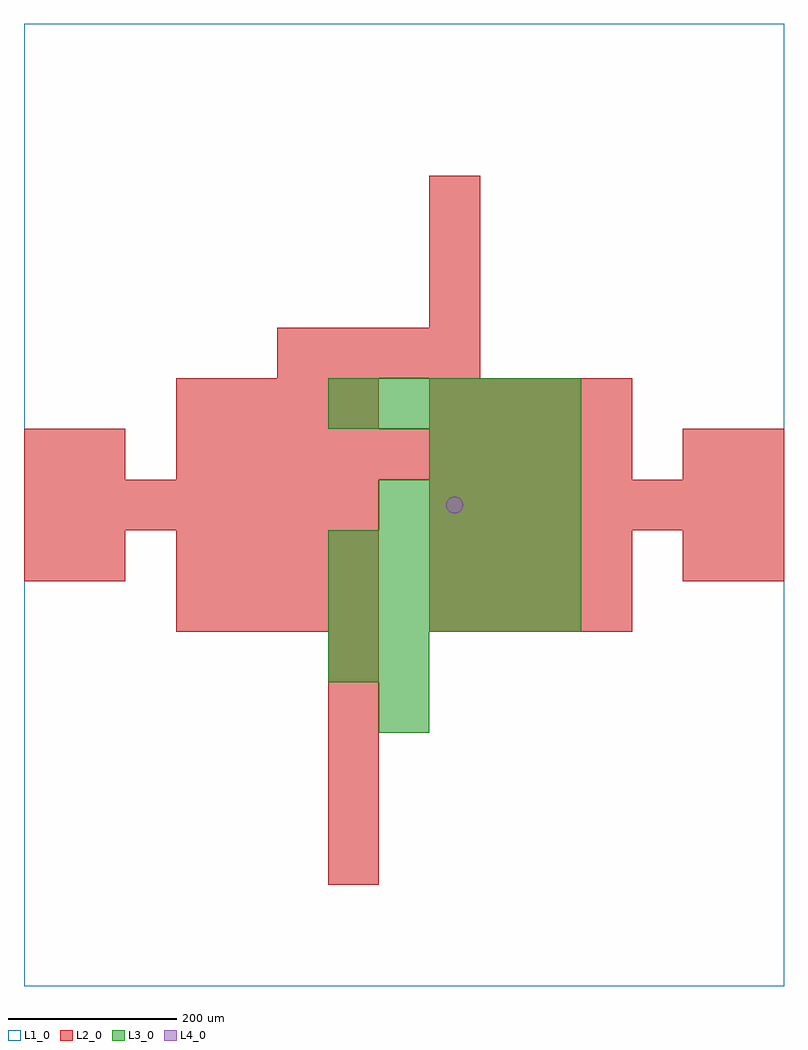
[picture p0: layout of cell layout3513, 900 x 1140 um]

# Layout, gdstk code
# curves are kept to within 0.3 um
import gdstk
lib = gdstk.Library(unit=1e-6, precision=1e-09)
def R(c, l, rs):  # rectangles x0, y0, x1, y1
    for r in rs: c.add(gdstk.rectangle(r[:2], r[2:], *l))
def A(c, l, x, y, w, h, nx, ny, dx, dy):  # array of equal rectangles
    R(c, l, [(x+i*dx, y+j*dy, x+i*dx+w, y+j*dy+h) for i in range(nx) for j in range(ny)])
def P(c, l, *ps):  # polygons
    for p in ps: c.add(gdstk.Polygon(p, *l))
L1_0 = (1, 0)
L2_0 = (2, 0)
L3_0 = (3, 0)
L4_0 = (4, 0)

layout3513 = lib.new_cell('layout3513')
R(layout3513, L1_0, [(0,0,900,1140)])
A(layout3513, L2_0, 360, 120, 60, 60, 1, 5, 0, 60)
A(layout3513, L2_0, 180, 420, 60, 60, 4, 2, 60, 60)
A(layout3513, L2_0, 480, 420, 60, 60, 4, 2, 60, 60)
A(layout3513, L2_0, 0, 540, 60, 60, 7, 1, 60, 0)
A(layout3513, L2_0, 480, 540, 60, 60, 7, 1, 60, 0)
A(layout3513, L2_0, 180, 600, 60, 60, 9, 1, 60, 0)
A(layout3513, L2_0, 180, 660, 60, 60, 4, 1, 60, 0)
A(layout3513, L2_0, 480, 660, 60, 60, 4, 1, 60, 0)
A(layout3513, L2_0, 300, 720, 60, 60, 4, 1, 60, 0)
A(layout3513, L2_0, 480, 780, 60, 60, 1, 3, 0, 60)
R(layout3513, L2_0, [(0,480,60,540), (60,480,120,540), (780,480,840,540), (840,480,900,540), (0,600,60,660), (60,600,120,660), (780,600,840,660), (840,600,900,660)])
A(layout3513, L3_0, 360, 420, 60, 60, 5, 2, 60, 60)
A(layout3513, L3_0, 420, 540, 60, 60, 4, 1, 60, 0)
A(layout3513, L3_0, 480, 600, 60, 60, 3, 1, 60, 0)
A(layout3513, L3_0, 360, 660, 60, 60, 5, 1, 60, 0)
R(layout3513, L3_0, [(420,300,480,360), (360,360,420,420), (420,360,480,420)])
P(layout3513, L4_0, [(520,570),(519.239,573.827),(517.071,577.071),(513.827,579.239),(510,580),(506.173,579.239),(502.929,577.071),(500.761,573.827),(500,570),(500.761,566.173),(502.929,562.929),(506.173,560.761),(510,560),(513.827,560.761),(517.071,562.929),(519.239,566.173)])

lib.write_gds('layout3513.gds')
